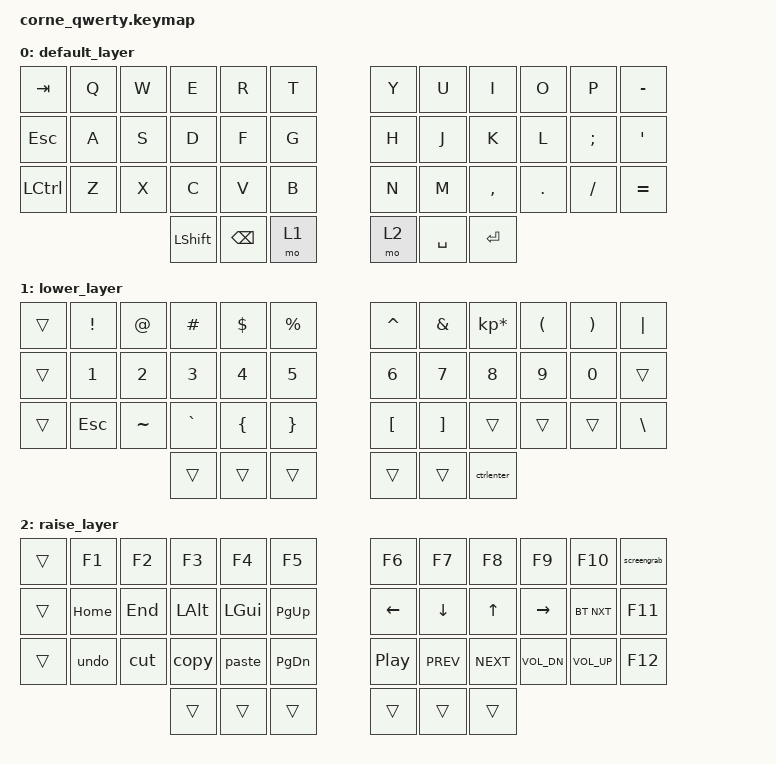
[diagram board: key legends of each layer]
/*
 * Copyright (c) 2020 The ZMK Contributors
 *
 * SPDX-License-Identifier: MIT
 */

#include <behaviors.dtsi>
#include <dt-bindings/zmk/keys.h>
#include <dt-bindings/zmk/bt.h>

/ {
        macros {
                copy: copy {
                        compatible = "zmk,behavior-macro";
                        label = "copy";
                        #binding-cells = <0>;
                        wait-ms = <30>;
                        tap-ms = <40>;
                        bindings  
                                = <&macro_press &kp LCTRL>
                                , <&macro_tap &kp C>
                                , <&macro_release &kp LCTRL>
                                ;
                        
                }; 

                paste: paste {
                        compatible = "zmk,behavior-macro";
                        label = "paste";
                        #binding-cells = <0>;
                        wait-ms = <30>;
                        tap-ms = <40>;
                        bindings  
                                = <&macro_press &kp LCTRL>
                                , <&macro_tap &kp V>
                                , <&macro_release &kp LCTRL>
                                ;
                        
                }; 

                cut: cut {
                        compatible = "zmk,behavior-macro";
                        label = "cut";
                        #binding-cells = <0>;
                        wait-ms = <30>;
                        tap-ms = <40>;
                        bindings  
                                = <&macro_press &kp LCTRL>
                                , <&macro_tap &kp X>
                                , <&macro_release &kp LCTRL>
                                ;
                        
                }; 

                undo: undo {
                        compatible = "zmk,behavior-macro";
                        label = "undo";
                        #binding-cells = <0>;
                        wait-ms = <30>;
                        tap-ms = <40>;
                        bindings  
                                = <&macro_press &kp LCTRL>
                                , <&macro_tap &kp Z>
                                , <&macro_release &kp LCTRL>
                                ;
                        
                }; 

                screengrab: screengrab {
                        compatible = "zmk,behavior-macro";
                        label = "screengrab";
                        #binding-cells = <0>;
                        wait-ms = <30>;
                        tap-ms = <40>;
                        bindings  
                                = <&macro_press &kp LGUI &kp LSHIFT>
                                , <&macro_tap &kp S>
                                , <&macro_release &kp LGUI &kp LSHIFT>
                                ;
                        
                }; 

                ctrlenter: ctrlenter {
                        compatible = "zmk,behavior-macro";
                        label = "ctrlenter";
                        #binding-cells = <0>;
                        wait-ms = <30>;
                        tap-ms = <40>;
                        bindings  
                                = <&macro_press &kp LCTRL>
                                , <&macro_tap &kp ENTER>
                                , <&macro_release &kp LCTRL>
                                ;
                        
                }; 

        };

        conditional_layers {
                compatible = "zmk,conditional-layers";
                tri_layer {
                if-layers = <1 2>;
                then-layer = <3>;
                };
        };

        keymap {
                compatible = "zmk,keymap";

                default_layer {
// -----------------------------------------------------------------------------------------
// | TAB  |  Q  |  W  |  E  |  R  |  T  |   |  Y  |  U   |  I  |  O  |  P  |  -   |
// | ESC  |  A  |  S  |  D  |  F  |  G  |   |  H  |  J   |  K  |  L  |  ;  |  '   |
// | CTRL |  Z  |  X  |  C  |  V  |  B  |   |  N  |  M   |  ,  |  .  |  /  |  =   |
//                    |SHIFT|BKSPC| NUM |   | NAV | SPACE|ENTER|
                        bindings = <
   &kp TAB   &kp Q &kp W  &kp E     &kp R    &kp T      &kp Y &kp U     &kp I     &kp O   &kp P    &kp MINUS 
   &kp ESC    &kp A &kp S &kp D     &kp F    &kp G      &kp H &kp J     &kp K     &kp L   &kp SEMI &kp SQT
   &kp LCTRL  &kp Z &kp X &kp C     &kp V    &kp B      &kp N &kp M     &kp COMMA &kp DOT &kp FSLH &kp EQUAL
                          &kp LSHFT &kp BKSP &mo 1      &mo 2 &kp SPACE &kp ENTER
                        
                        >;
                };
                lower_layer {
// -----------------------------------------------------------------------------------------
// |  TAB |  !  |  @  |  #  |  $  |  %  |   |  ^  |  &  |  *  |  (  |  )  |  |   |
// |  ESC |  1  |  2  |  3  |  4  |  5  |   |  6  |  7  |  8  |  9  |  0  |  '   |
// | CTRL | ESC |  ~  |  `  |  {  |  }  |   |  [  |  ]  |  ,  |  .  |  /  |  \   |
//                    |SHIFT|BKSPC|     |   |     |SPACE|ENTER|
                        bindings = <
   &trans  &kp EXCL &kp AT    &kp HASH  &kp DLLR &kp PRCNT   &kp CARET &kp AMPS &kp KP_MULTIPLY &kp LPAR &kp RPAR &kp PIPE
   &trans  &kp N1   &kp N2    &kp N3    &kp N4   &kp N5      &kp N6    &kp N7   &kp N8          &kp N9   &kp N0   &trans
   &trans  &kp ESC  &kp TILDE &kp GRAVE &kp LBRC &kp RBRC    &kp LBKT  &kp RBKT &trans          &trans   &trans   &kp BSLH
                              &trans    &trans   &trans      &trans    &trans   &ctrlenter
                        >;
                };

                raise_layer {
// -----------------------------------------------------------------------------------------
// |  TAB |  F1  |  F2  |  F3  |  F4  |  F5  |   |  F6  |  F7  |  F8  |  F9  |  F10  | PRSC|
// |  ESC | HOME |  END |  ALT |  WIN | PG UP|   |  LFT | DOWN |  UP  | RGHT |       | F11 |
// | CTRL | UNDO |  CUT | COPY | PASTE| PG DN|   | PLAY | RWND | FFWD | VOLDN| VOLUP | F12 |
//                      | SHIFT| BKSPC|      |   |      | SPACE| ENTER|
                        bindings = <
   &trans &kp F1   &kp F2  &kp F3   &kp F4   &kp F5         &kp F6           &kp F7     &kp F8     &kp F9       &kp F10      &screengrab
   &trans &kp HOME &kp END &kp LALT &kp LGUI &kp PG_UP      &kp LEFT         &kp DOWN   &kp UP     &kp RIGHT    &bt BT_NXT   &kp F11
   &trans &undo    &cut    &copy    &paste   &kp PG_DN      &kp C_PLAY_PAUSE &kp C_PREV &kp C_NEXT &kp C_VOL_DN &kp C_VOL_UP &kp F12 
                    	   &trans   &trans   &trans         &trans           &trans     &trans
                        >;
                };
        };
};
